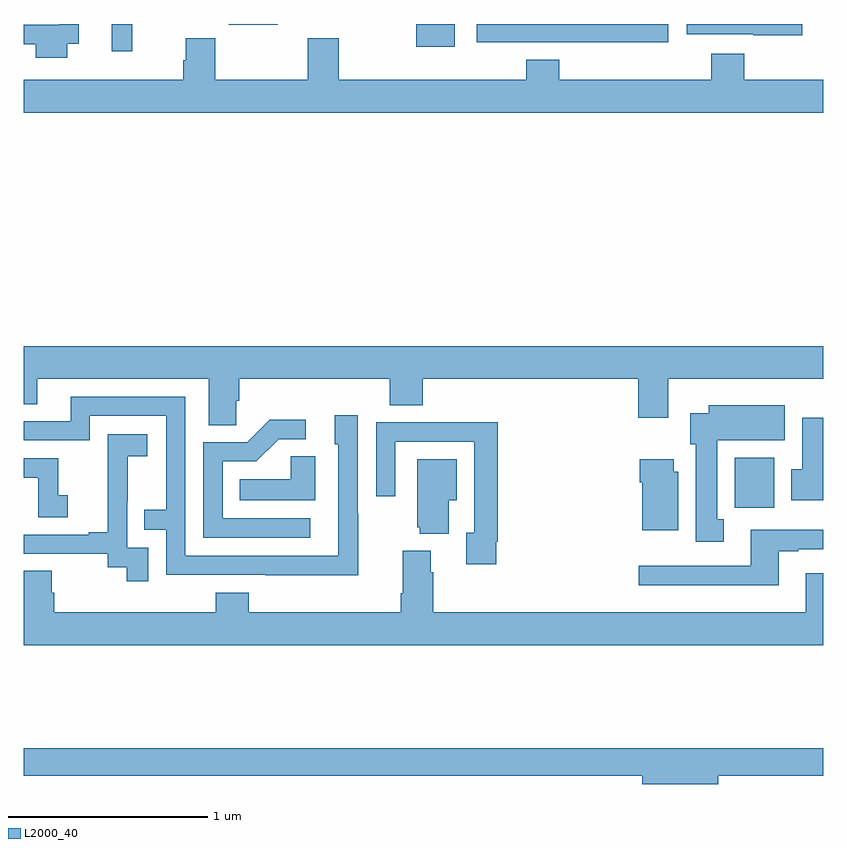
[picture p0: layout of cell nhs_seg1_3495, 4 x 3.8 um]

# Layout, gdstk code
import gdstk
lib = gdstk.Library(unit=1e-6, precision=1e-09)
def R(c, l, rs):  # rectangles x0, y0, x1, y1
    for r in rs: c.add(gdstk.rectangle(r[:2], r[2:], *l))
def P(c, l, *ps):  # polygons
    for p in ps: c.add(gdstk.Polygon(p, *l))
L2000_40 = (2000, 40)

nhs_seg1_3495 = lib.new_cell('nhs_seg1_3495')
R(nhs_seg1_3495, L2000_40, [(304.557,525.78,304.753,526.03), (301.442,528.063,301.544,528.199), (302.964,528.086,303.157,528.199), (302.027,528.194,302.272,528.199)])
P(nhs_seg1_3495, L2000_40, [(304.894,528.199),(304.317,528.199),(304.317,528.147),(304.649,528.147),(304.649,528.143),(304.894,528.143)],
  [(301.219,528.099),(301.276,528.099),(301.276,528.199),(301.179,528.199),(301.179,528.195),(301,528.195),(301,528.098),(301.06,528.098),(301.06,528.029),(301.219,528.029)],
  [(304.224,528.199),(303.267,528.199),(303.267,528.108),(303.763,528.108),(303.763,528.107),(304.224,528.107)],
  [(305,527.92),(304.604,527.92),(304.604,528.049),(304.439,528.049),(304.439,527.92),(303.68,527.92),(303.68,528.019),(303.515,528.019),(303.515,527.92),(302.577,527.92),(302.577,528.128),(302.422,528.128),(302.422,527.92),(301.959,527.92),(301.959,528.128),(301.811,528.128),(301.811,528.018),(301.799,528.018),(301.799,527.92),(301,527.92),(301,527.756),(305,527.756)],
  [(302.064,526.315),(302.078,526.315),(302.078,526.424),(302.831,526.424),(302.831,526.291),(302.996,526.291),(302.996,526.424),(304.073,526.424),(304.073,526.23),(304.225,526.23),(304.225,526.424),(305,526.424),(305,526.588),(301,526.588),(301,526.297),(301.069,526.297),(301.069,526.424),(301.925,526.424),(301.925,526.192),(302.064,526.192)],
  [(302.673,525.749),(302.67,525.749),(302.67,526.243),(302.555,526.243),(302.555,526.098),(302.574,526.098),(302.574,525.54),(301.809,525.54),(301.809,526.335),(301.235,526.335),(301.235,526.212),(301,526.212),(301,526.116),(301.332,526.116),(301.332,526.239),(301.713,526.239),(301.713,525.77),(301.603,525.77),(301.603,525.669),(301.713,525.669),(301.713,525.444),(302.209,525.444),(302.209,525.443),(302.673,525.443)],
  [(304.501,525.721),(304.468,525.721),(304.468,526.118),(304.807,526.118),(304.807,526.291),(304.427,526.291),(304.427,526.252),(304.334,526.252),(304.334,526.098),(304.361,526.098),(304.361,525.609),(304.501,525.609)],
  [(305,526.23),(304.895,526.23),(304.895,525.972),(304.838,525.972),(304.838,525.816),(305,525.816)],
  [(302.434,525.726),(301.995,525.726),(301.995,526.011),(302.164,526.011),(302.275,526.122),(302.41,526.122),(302.41,526.22),(302.231,526.22),(302.118,526.107),(301.899,526.107),(301.899,525.63),(302.434,525.63)],
  [(303.364,525.61),(303.371,525.61),(303.371,526.208),(303.079,526.208),(303.079,526.206),(302.763,526.206),(302.763,525.837),(302.859,525.837),(302.859,526.11),(303.255,526.11),(303.255,525.654),(303.215,525.654),(303.215,525.498),(303.364,525.498)],
  [(301.623,525.579),(301.518,525.579),(301.518,525.809),(301.52,525.809),(301.52,526.037),(301.618,526.037),(301.618,526.147),(301.42,526.147),(301.42,525.941),(301.421,525.941),(301.421,525.658),(301.325,525.658),(301.325,525.645),(301,525.645),(301,525.549),(301.422,525.549),(301.422,525.481),(301.515,525.481),(301.515,525.411),(301.623,525.411)],
  [(302.458,526.037),(302.337,526.037),(302.337,525.922),(302.08,525.922),(302.08,525.818),(302.458,525.818)],
  [(301.222,525.841),(301.173,525.841),(301.173,526.026),(301,526.026),(301,525.93),(301.074,525.93),(301.074,525.732),(301.222,525.732)],
  [(303.127,525.818),(303.166,525.818),(303.166,526.021),(302.969,526.021),(302.969,525.681),(302.981,525.681),(302.981,525.65),(303.127,525.65)],
  [(304.273,525.96),(304.252,525.96),(304.252,526.021),(304.082,526.021),(304.082,525.908),(304.094,525.908),(304.094,525.668),(304.273,525.668)],
  [(304.777,525.561),(304.873,525.561),(304.873,525.573),(305,525.573),(305,525.67),(304.637,525.67),(304.637,525.489),(304.077,525.489),(304.077,525.392),(304.777,525.392)],
  [(305,525.451),(304.913,525.451),(304.913,525.256),(303.05,525.256),(303.05,525.458),(303.037,525.458),(303.037,525.565),(302.897,525.565),(302.897,525.352),(302.885,525.352),(302.885,525.256),(302.126,525.256),(302.126,525.355),(301.961,525.355),(301.961,525.256),(301.154,525.256),(301.154,525.354),(301.141,525.354),(301.141,525.464),(301,525.464),(301,525.092),(305,525.092)],
  [(304.474,524.44),(305,524.44),(305,524.576),(301,524.576),(301,524.44),(304.094,524.44),(304.094,524.398),(304.474,524.398)])

lib.write_gds('nhs_seg1_3495.gds')
